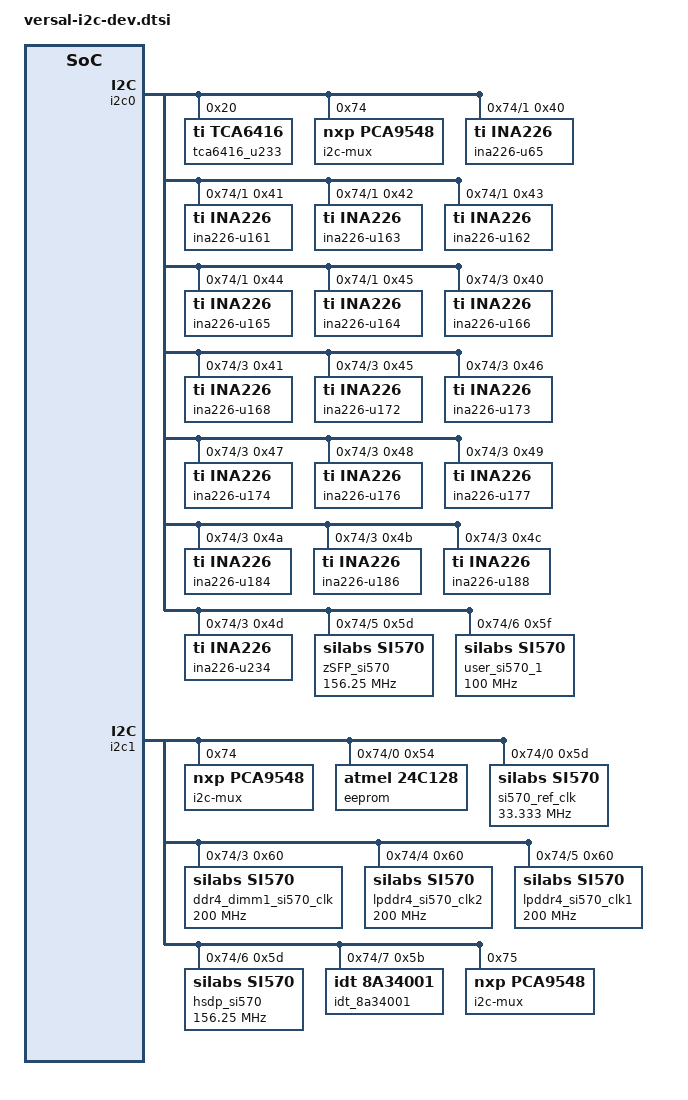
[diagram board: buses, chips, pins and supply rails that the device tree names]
&i2c0 {
	tca6416_u233: gpio@20 {
		compatible = "ti,tca6416";
		reg = <0x20>;
		gpio-controller; /* IRQ not connected */
		#gpio-cells = <2>;
		gpio-line-names = "MAX6643_OT_B", "MAX6643_FANFAIL_B", "", "", "PMBUS2_INA226_ALERT", "", "",
				"MAX6643_FULLSPD", "FMCP1_FMC_PRSNT_M2C_B", "FMCP2_FMC_PRSNT_M2C_B",
				"FMCP1_FMCP_PRSNT_M2C_B", "FMCP2_FMCP_PRSNT_M2C_B", "VCCINT_VRHOT_B",
				"8A34001_EXP_RST_B", "PMBUS_ALERT", "PMBUS1_INA226_ALERT";
	};

	i2c-mux@74 {
		compatible = "nxp,pca9548"; /* u33 */
		#address-cells = <1>;
		#size-cells = <0>;
		reg = <0x74>;

		i2c@0 {
			#address-cells = <1>;
			#size-cells = <0>;
			reg = <0>;
			/* PMBUS */
		};
		i2c@1 {
			#address-cells = <1>;
			#size-cells = <0>;
			reg = <1>;
			/* PMBUS1_INA226 */
			u65: ina226@40 { /* u65 */
				compatible = "ti,ina226";
				#io-channel-cells = <1>;
				label = "ina226-u65";
				reg = <0x40>;
				shunt-resistor = <500>; /* R440 */
			};
			u161: ina226@41 { /* u161 */
				compatible = "ti,ina226";
				#io-channel-cells = <1>;
				label = "ina226-u161";
				reg = <0x41>;
				shunt-resistor = <500>; /* R1702 */
			};
			u163: ina226@42 { /* u163 */
				compatible = "ti,ina226";
				#io-channel-cells = <1>;
				label = "ina226-u163";
				reg = <0x42>;
				shunt-resistor = <5000>; /* R1214 */
			};
			u162: ina226@43 { /* u162 */
				compatible = "ti,ina226";
				#io-channel-cells = <1>;
				label = "ina226-u162";
				reg = <0x43>;
				shunt-resistor = <5000>; /* R1221 */
			};
			u165: ina226@44 { /* u165 */
				compatible = "ti,ina226";
				#io-channel-cells = <1>;
				label = "ina226-u165";
				reg = <0x44>;
				shunt-resistor = <5000>; /* R1216 */
			};
			u164: ina226@45 { /* u164 */
				compatible = "ti,ina226";
				#io-channel-cells = <1>;
				label = "ina226-u164";
				reg = <0x45>;
				shunt-resistor = <5000>; /* R1219 */
			};
		};
		/* 2 unconnected */
		i2c@3 {
			#address-cells = <1>;
			#size-cells = <0>;
			reg = <3>;
			/* PMBUS2_INA226 */
			u166: ina226@40 { /* u166 */
				compatible = "ti,ina226";
				#io-channel-cells = <1>;
				label = "ina226-u166";
				reg = <0x40>;
				shunt-resistor = <5000>; /* R382 */
			};
			u168: ina226@41 { /* u168 */
				compatible = "ti,ina226";
				#io-channel-cells = <1>;
				label = "ina226-u168";
				reg = <0x41>;
				shunt-resistor = <5000>; /* R1246 */
			};
			u172: ina226@45 { /* u172 */
				compatible = "ti,ina226";
				#io-channel-cells = <1>;
				label = "ina226-u172";
				reg = <0x45>;
				shunt-resistor = <5000>; /* R1229 */
			};
			u173: ina226@46 { /* u173 */
				compatible = "ti,ina226";
				#io-channel-cells = <1>;
				label = "ina226-u173";
				reg = <0x46>;
				shunt-resistor = <5000>; /* R400 */
			};
			u174: ina226@47 { /* u174 */
				compatible = "ti,ina226";
				#io-channel-cells = <1>;
				label = "ina226-u174";
				reg = <0x47>;
				shunt-resistor = <5000>; /* R1232 */
			};
			u176: ina226@48 { /* u176 */
				compatible = "ti,ina226";
				#io-channel-cells = <1>;
				label = "ina226-u176";
				reg = <0x48>;
				shunt-resistor = <5000>; /* R1275 */
			};
			u177: ina226@49 { /* u177 */
				compatible = "ti,ina226";
				#io-channel-cells = <1>;
				label = "ina226-u177";
				reg = <0x49>;
				shunt-resistor = <5000>; /* R1286 */
			};
			u184: ina226@4a { /* u184 */
				compatible = "ti,ina226";
				#io-channel-cells = <1>;
				label = "ina226-u184";
				reg = <0x4a>;
				shunt-resistor = <2000>; /* R1350 */
			};
			u186: ina226@4b { /* u186 */
				compatible = "ti,ina226";
				#io-channel-cells = <1>;
				label = "ina226-u186";
				reg = <0x4b>;
				shunt-resistor = <2000>; /* R1367 */
			};
			u188: ina226@4c { /* u188 */
				compatible = "ti,ina226";
				#io-channel-cells = <1>;
				label = "ina226-u188";
				reg = <0x4c>;
				shunt-resistor = <2000>; /* R1384 */
			};
			u234: ina226@4d { /* u234 */
				compatible = "ti,ina226";
				#io-channel-cells = <1>;
				label = "ina226-u234";
				reg = <0x4d>;
				shunt-resistor = <5000>; /* R1679 */
			};
		};
		/* 4 unconnected */
		i2c@5 {
			#address-cells = <1>;
			#size-cells = <0>;
			reg = <5>;
			/* zSFP_SI570 */
			zSFP_si570: clock-generator@5d { /* zSFP SI570 - u192 */
				#clock-cells = <0>;
				compatible = "silabs,si570";
				reg = <0x5d>;
				temperature-stability = <50>;
				factory-fout = <156250000>;
				clock-frequency = <156250000>;
				clock-output-names = "zSFP_si570";
				silabs,skip-recall; /* Do not reset */
			};
		};
		i2c@6 {
			#address-cells = <1>;
			#size-cells = <0>;
			reg = <6>;
			/* USER_SI570_1_CLOCK */
			user_si570_1: clock-generator@5f { /* USER SI570 - u205 */
				#clock-cells = <0>;
				compatible = "silabs,si570";
				reg = <0x5f>;
				temperature-stability = <50>;
				factory-fout = <100000000>;
				clock-frequency = <100000000>;
				clock-output-names = "user_si570_1";
				silabs,skip-recall; /* Do not reset */
			};
		};
		/* 7 unconnected */
	};
};

&i2c1 {
	i2c-mux@74 { /* u35 */
		compatible = "nxp,pca9548";
		#address-cells = <1>;
		#size-cells = <0>;
		reg = <0x74>;
		i2c@0 {
			#address-cells = <1>;
			#size-cells = <0>;
			reg = <0>;
			eeprom: eeprom@54 { /* u34 */
				compatible = "atmel,24c128";
				reg = <0x54>;
			};
			/* SI570_REF_CLK */
			si570_ref_clk: clock-generator@5d { /* 33.333 MHz SI570 - u32 */
				#clock-cells = <0>;
				compatible = "silabs,si570";
				reg = <0x5d>;
				temperature-stability = <50>;
				factory-fout = <33333333>;
				clock-frequency = <33333333>;
				clock-output-names = "si570_ref_clk";
				silabs,skip-recall; /* Do not reset */
			};
		};
		i2c@1 {
			#address-cells = <1>;
			#size-cells = <0>;
			reg = <1>;
			/* FMCP1_IIC */
		};
		i2c@2 {
			#address-cells = <1>;
			#size-cells = <0>;
			reg = <2>;
			/* FMCP2_IIC */
		};
		i2c@3 {
			#address-cells = <1>;
			#size-cells = <0>;
			reg = <3>;
			/* DDR4_DIMM1_SMA_CLK */
			ddr4_dimm1_si570_clk: clock-generator@60 { /* SI570 - u2 */
				#clock-cells = <0>;
				compatible = "silabs,si570";
				reg = <0x60>;
				temperature-stability = <50>;
				factory-fout = <200000000>;
				clock-frequency = <200000000>;
				clock-output-names = "ddr4_dimm1_si570_clk";
				silabs,skip-recall; /* Do not reset */
			};
		};
		i2c@4 {
			#address-cells = <1>;
			#size-cells = <0>;
			reg = <4>;
			lpddr4_si570_clk2: clock-generator@60 { /* SI570 - u3 */
				compatible = "silabs,si570";
				reg = <0x60>;
				#clock-cells = <0>;
				temperature-stability = <50>;
				factory-fout = <200000000>;
				clock-frequency = <200000000>;
				clock-output-names = "lpddr4_si570_clk2";
				silabs,skip-recall; /* Do not reset */
			};
		};
		i2c@5 {
			#address-cells = <1>;
			#size-cells = <0>;
			reg = <5>;
			lpddr4_si570_clk1: clock-generator@60 { /* SI570 - u4 */
				compatible = "silabs,si570";
				reg = <0x60>;
				#clock-cells = <0>;
				temperature-stability = <50>;
				factory-fout = <200000000>;
				clock-frequency = <200000000>;
				clock-output-names = "lpddr4_si570_clk1";
				silabs,skip-recall; /* Do not reset */
			};
		};
		i2c@6 {
			#address-cells = <1>;
			#size-cells = <0>;
			reg = <6>;
			hsdp_si570: clock-generator@5d { /* HSDP SI570 - u5 */
				compatible = "silabs,si570";
				reg = <0x5d>;
				#clock-cells = <0>;
				temperature-stability = <50>;
				factory-fout = <156250000>;
				clock-frequency = <156250000>;
				clock-output-names = "hsdp_si570";
				silabs,skip-recall; /* Do not reset */
			};
		};
		i2c@7 {
			#address-cells = <1>;
			#size-cells = <0>;
			reg = <7>;
			idt_8a34001: phc@5b { /* u219 */
				compatible = "idt,8a34001";
				reg = <0x5b>;
			};
		};
	};

	i2c-mux@75 {
		compatible = "nxp,pca9548"; /* u214 */
		#address-cells = <1>;
		#size-cells = <0>;
		reg = <0x75>;

		i2c@0 {
			#address-cells = <1>;
			#size-cells = <0>;
			reg = <0>;
			/* SFP0_IIC */
		};
		i2c@1 {
			#address-cells = <1>;
			#size-cells = <0>;
			reg = <1>;
			/* SFP1_IIC */
		};
		i2c@2 {
			#address-cells = <1>;
			#size-cells = <0>;
			reg = <2>;
			/* QSPF1_IIC */
		};
		/* 3 - 7 unconnected */
	};
};
